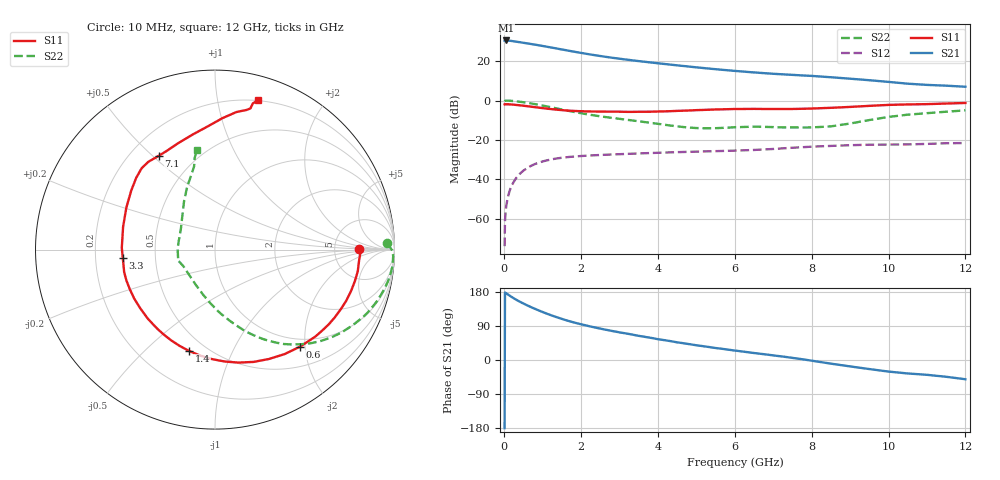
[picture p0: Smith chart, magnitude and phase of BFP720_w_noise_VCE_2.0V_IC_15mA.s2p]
! Infineon Technologies  Discrete & RF Semiconductors
! BFP720
! VCE =  2.0 V,  IC =  15 mA
! Common Emitter S-Parameters:  Aug 2012
# GHz  S  MA  R  50
!  f  S11  S21  S12  S22
! GHz  MAG  ANG  MAG  ANG  MAG  ANG  MAG  ANG
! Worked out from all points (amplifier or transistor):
!   105 points, 10 MHz to 12 GHz, reference 50 ohm
!   highest |S21| = 30.5 dB at 50 MHz (marker M1)
!   |S21| within 3 dB of that: start of sweep to 1.057 GHz
!   unconditionally stable (mu >= 1): start of sweep to 13.44 MHz; 4.805 GHz to 11.15 GHz
!   at 300 MHz: K = 0.12, MSG = 34.8 dB, |S12| = -39.7 dB
!   at 3.6 GHz: K = 0.82, MSG = 23.3 dB, |S12| = -26.8 dB
!   at 12 GHz: K = 0.80, MSG = 14.3 dB, |S12| = -21.6 dB
!   lowest NFmin = 0.63 dB at 450 MHz
!   S11 on the Smith chart (normalised r, x): 10 MHz: 9.01, +0.14; 600 MHz: 0.85, -1.90; 1.4 GHz: 0.41, -0.69; 3.3 GHz: 0.32, -0.04; 7.1 GHz: 0.31, +0.52; 12 GHz: 0.19, +1.31
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0.01  0.8002 0.2  33.21 -179.8  0.0002 -11.9  0.9605 2.1
0.02  0.8094 -1.6  33.35 178.1  0.0009 86.3  0.99 -0.5
0.05  0.8051 -4.1  33.63 176.1  0.002 92.4  0.9935 -2.2
0.15  0.7987 -12.9  33.03 169.2  0.0054 83.3  0.9877 -7.8
0.3  0.7761 -25.1  31.49 159.8  0.0104 77.2  0.9582 -15.3
0.45  0.7485 -37.1  29.87 151.5  0.0151 71.1  0.9201 -22.4
0.6  0.7193 -48.7  28.34 144.1  0.0194 65.5  0.8751 -28.8
0.8  0.6792 -63.9  26.36 135.0  0.0244 58.8  0.8132 -36.9
1  0.643 -78.3  24.36 126.6  0.0284 52.9  0.7468 -44.3
1.2  0.6099 -91.8  22.48 118.8  0.0316 47.7  0.6822 -50.8
1.4  0.5828 -104.3  20.69 111.8  0.0342 43.2  0.6213 -56.6
1.8  0.5461 -125.7  17.57 99.4  0.0377 36.5  0.5174 -66.3
2.1  0.5319 -138.2  15.62 91.9  0.0395 32.9  0.4583 -72.2
2.6  0.5235 -154.9  13.09 80.7  0.0419 28.5  0.3855 -80.7
3.3  0.5159 -175.1  10.61 67.7  0.0446 24.6  0.3152 -91.8
4.1  0.5296 163.7  8.639 53.4  0.0475 21.2  0.2486 -108.1
5  0.5709 144.9  6.981 38.8  0.0505 18.1  0.2005 -137.0
6.1  0.6109 131.0  5.567 23.7  0.0539 16.0  0.2114 -162.1
7.1  0.6093 121.0  4.726 10.9  0.0597 15.0  0.2099 -169.0
8.5  0.6541 100.7  3.91 -9.6  0.0704 7.5  0.2209 149.6
10.5  0.7975 77.3  2.683 -35.5  0.0769 -4.9  0.438 107.4
12  0.8679 73.9  2.243 -50.8  0.0833 -13.5  0.5633 100.3
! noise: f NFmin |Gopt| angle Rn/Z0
0.45  0.63  0.22  1  0.43
1.8  0.7  0.22  14  0.13
2.4  0.75  0.2  22  0.38
5.5  0.93  0.1  -30  0.18
10  1.11  0.44  -74  0.27
